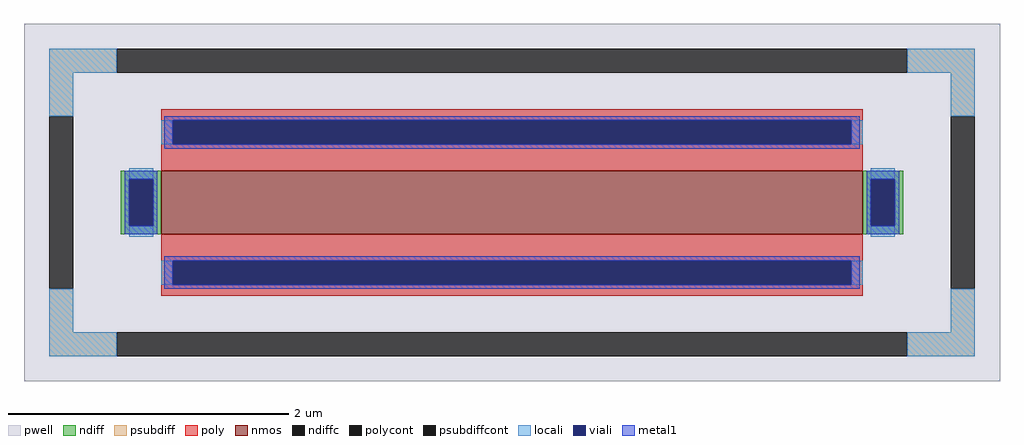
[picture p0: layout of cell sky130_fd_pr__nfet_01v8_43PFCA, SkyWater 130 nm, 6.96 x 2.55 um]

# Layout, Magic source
magic
tech sky130A
magscale 1 2
<< pwell >>
rect -696 -255 696 255
<< nmos >>
rect -500 -45 500 45
<< ndiff >>
rect -558 33 -500 45
rect -558 -33 -546 33
rect -512 -33 -500 33
rect -558 -45 -500 -33
rect 500 33 558 45
rect 500 -33 512 33
rect 546 -33 558 33
rect 500 -45 558 -33
<< ndiffc >>
rect -546 -33 -512 33
rect 512 -33 546 33
<< psubdiff >>
rect -660 185 -564 219
rect 564 185 660 219
rect -660 123 -626 185
rect 626 123 660 185
rect -660 -185 -626 -123
rect 626 -185 660 -123
rect -660 -219 -564 -185
rect 564 -219 660 -185
<< psubdiffcont >>
rect -564 185 564 219
rect -660 -123 -626 123
rect 626 -123 660 123
rect -564 -219 564 -185
<< poly >>
rect -500 117 500 133
rect -500 83 -484 117
rect 484 83 500 117
rect -500 45 500 83
rect -500 -83 500 -45
rect -500 -117 -484 -83
rect 484 -117 500 -83
rect -500 -133 500 -117
<< polycont >>
rect -484 83 484 117
rect -484 -117 484 -83
<< locali >>
rect -660 185 -564 219
rect 564 185 660 219
rect -660 123 -626 185
rect 626 123 660 185
rect -500 83 -484 117
rect 484 83 500 117
rect -546 33 -512 49
rect -546 -49 -512 -33
rect 512 33 546 49
rect 512 -49 546 -33
rect -500 -117 -484 -83
rect 484 -117 500 -83
rect -660 -185 -626 -123
rect 626 -185 660 -123
rect -660 -219 -564 -185
rect 564 -219 660 -185
<< viali >>
rect -484 83 484 117
rect -546 -33 -512 33
rect 512 -33 546 33
rect -484 -117 484 -83
<< metal1 >>
rect -496 117 496 123
rect -496 83 -484 117
rect 484 83 496 117
rect -496 77 496 83
rect -552 33 -506 45
rect -552 -33 -546 33
rect -512 -33 -506 33
rect -552 -45 -506 -33
rect 506 33 552 45
rect 506 -33 512 33
rect 546 -33 552 33
rect 506 -45 552 -33
rect -496 -83 496 -77
rect -496 -117 -484 -83
rect 484 -117 496 -83
rect -496 -123 496 -117
<< properties >>
string FIXED_BBOX -643 -202 643 202
string gencell sky130_fd_pr__nfet_01v8
string library sky130
string parameters w 0.45 l 5.0 m 1 nf 1 diffcov 100 polycov 100 guard 1 glc 1 grc 1 gtc 1 gbc 1 tbcov 100 rlcov 100 topc 1 botc 1 poverlap 0 doverlap 1 lmin 0.15 wmin 0.42 compatible {sky130_fd_pr__nfet_01v8 sky130_fd_pr__nfet_01v8_lvt  sky130_fd_bs_flash__special_sonosfet_star  sky130_fd_pr__nfet_g5v0d10v5 sky130_fd_pr__nfet_05v0_nvt  sky130_fd_pr__nfet_03v3_nvt} full_metal 1 viasrc 100 viadrn 100 viagate 100 viagb 0 viagr 0 viagl 0 viagt 0
<< end >>
